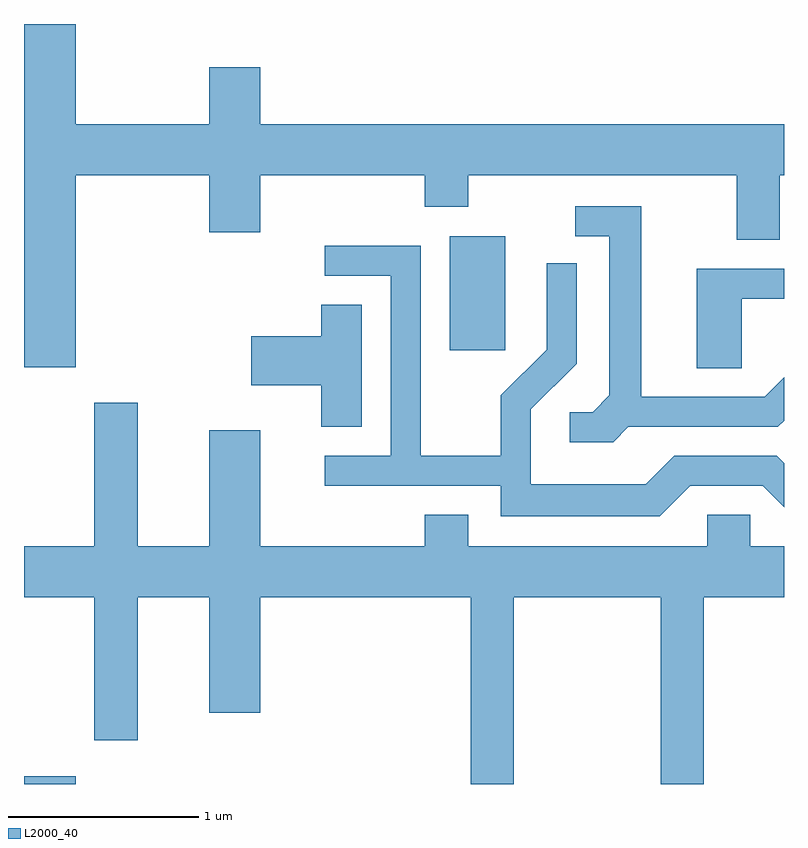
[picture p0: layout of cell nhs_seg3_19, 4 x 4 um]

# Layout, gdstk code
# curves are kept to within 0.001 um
import gdstk
lib = gdstk.Library(unit=1e-6, precision=1e-09)
def R(c, l, rs):  # rectangles x0, y0, x1, y1
    for r in rs: c.add(gdstk.rectangle(r[:2], r[2:], *l))
def P(c, l, *ps):  # polygons
    for p in ps: c.add(gdstk.Polygon(p, *l))
L2000_40 = (2000, 40)

nhs_seg3_19 = lib.new_cell('nhs_seg3_19')
R(nhs_seg3_19, L2000_40, [(185.611,1153.892,185.884,1153.934), (187.851,1156.176,188.144,1156.774)])
P(nhs_seg3_19, L2000_40, [(185.884,1157.096),(186.586,1157.096),(186.586,1156.796),(186.854,1156.796),(186.854,1157.096),(187.721,1157.096),(187.721,1156.931),(187.949,1156.931),(187.949,1157.096),(189.361,1157.096),(189.361,1156.756),(189.589,1156.756),(189.589,1157.096),(189.611,1157.096),(189.611,1157.364),(186.854,1157.364),(186.854,1157.664),(186.586,1157.664),(186.586,1157.364),(185.884,1157.364),(185.884,1157.892),(185.611,1157.892),(185.611,1156.086),(185.884,1156.086)],
  [(188.792,1155.771),(189.577,1155.771),(189.611,1155.805),(189.611,1156.032),(189.509,1155.929),(188.859,1155.929),(188.859,1156.934),(188.513,1156.934),(188.513,1156.776),(188.691,1156.776),(188.691,1155.937),(188.604,1155.849),(188.483,1155.849),(188.483,1155.691),(188.712,1155.691)],
  [(189.117,1155.461),(189.499,1155.461),(189.611,1155.349),(189.611,1155.58),(189.572,1155.619),(189.034,1155.619),(188.884,1155.469),(188.279,1155.469),(188.279,1155.864),(188.519,1156.104),(188.519,1156.633),(188.361,1156.633),(188.361,1156.177),(188.121,1155.937),(188.121,1155.619),(187.699,1155.619),(187.699,1156.724),(187.193,1156.724),(187.193,1156.566),(187.541,1156.566),(187.541,1155.619),(187.193,1155.619),(187.193,1155.461),(188.121,1155.461),(188.121,1155.301),(188.957,1155.301)],
  [(189.389,1156.446),(189.611,1156.446),(189.611,1156.604),(189.151,1156.604),(189.151,1156.081),(189.389,1156.081)],
  [(187.389,1156.414),(187.176,1156.414),(187.176,1156.249),(186.806,1156.249),(186.806,1155.991),(187.176,1155.991),(187.176,1155.771),(187.389,1155.771)],
  [(188.189,1154.876),(188.961,1154.876),(188.961,1153.892),(189.189,1153.892),(189.189,1154.876),(189.611,1154.876),(189.611,1155.144),(189.434,1155.144),(189.434,1155.309),(189.206,1155.309),(189.206,1155.144),(187.949,1155.144),(187.949,1155.309),(187.721,1155.309),(187.721,1155.144),(186.854,1155.144),(186.854,1155.754),(186.586,1155.754),(186.586,1155.144),(186.209,1155.144),(186.209,1155.899),(185.981,1155.899),(185.981,1155.144),(185.611,1155.144),(185.611,1154.876),(185.981,1154.876),(185.981,1154.121),(186.209,1154.121),(186.209,1154.876),(186.586,1154.876),(186.586,1154.266),(186.854,1154.266),(186.854,1154.876),(187.961,1154.876),(187.961,1153.892),(188.189,1153.892)])

lib.write_gds('nhs_seg3_19.gds')
